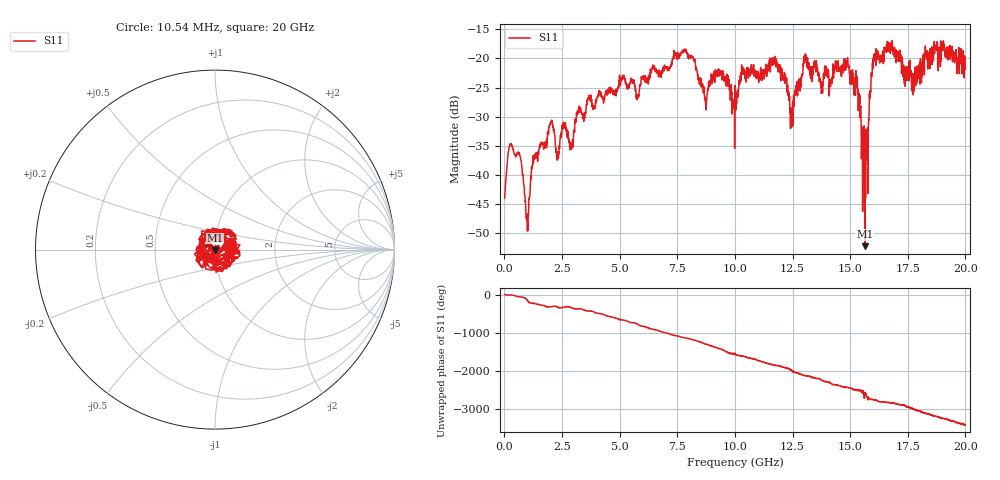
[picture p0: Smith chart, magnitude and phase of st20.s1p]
! S Parameters saved at 10:54:38 06/22/07
# HZ DB S R 50
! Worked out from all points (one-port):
!   1898 points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, 10.54 MHz to 20 GHz, reference 50 ohm
!   lowest |S11| = -52.3 dB at 15.64 GHz (marker M1), VSWR 1.00, Z = 50.1 - j0.231 ohm
!   |S11| at or under -10 dB: start of sweep to end of sweep
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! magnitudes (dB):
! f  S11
! 10.54 MHz  -44.0
! 305.6 MHz  -34.7
! 674.4 MHz  -36.8
! 1.001 GHz  -49.7
! 1.307 GHz  -36.7
! 2.318 GHz  -37.1
! 2.518 GHz  -32.1
! 2.898 GHz  -34.9
! 3.224 GHz  -28.2
! 5.016 GHz  -24.7
! 5.774 GHz  -26.7
! 7.513 GHz  -18.9
! 8.188 GHz  -19.8
! 8.725 GHz  -27.6
! 9.336 GHz  -22.5
! 10.01 GHz  -24.7
! 10.33 GHz  -22.5
! 11.65 GHz  -19.9
! 12.51 GHz  -27.3
! 13.06 GHz  -19.2
! 13.73 GHz  -24.9
! 15.01 GHz  -24.4
! 15.32 GHz  -26.2
! 15.64 GHz  -52.3
! 16.09 GHz  -20.4
! 17.5 GHz  -23.7
! 18.71 GHz  -18.1
! 20 GHz  -21.9
